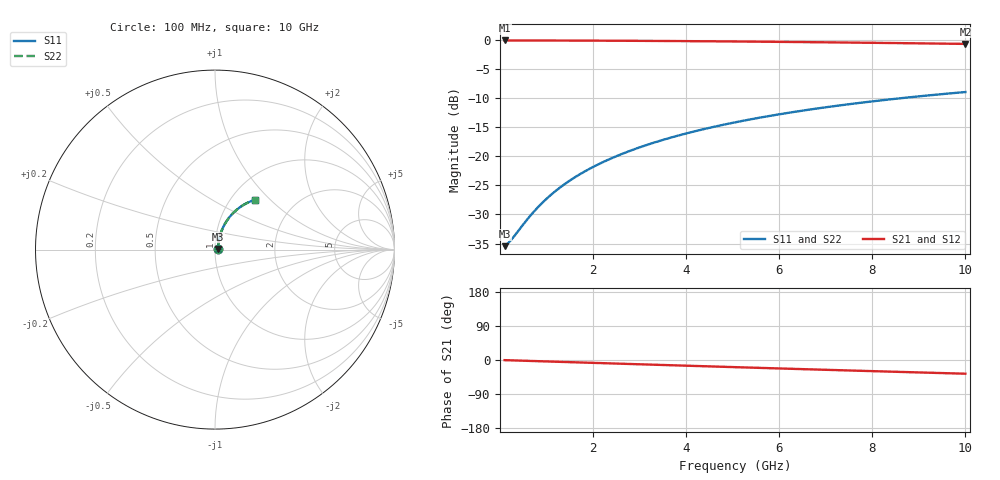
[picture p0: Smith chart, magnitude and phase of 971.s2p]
# Hz S RI R 50.00
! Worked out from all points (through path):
!   100 points, 100 MHz to 10 GHz, reference 50 ohm
!   highest |S21| = -0.14 dB at 100 MHz (marker M1); lowest = -0.7 dB at 10 GHz (marker M2)
!   group delay of S21, straight-line fit = 10.1 ps
!   lowest |S11| = -35.4 dB at 100 MHz (marker M3), VSWR 1.03, Z = 51.7 + j0.399 ohm
!   |S11| at or under -10 dB: start of sweep to 8.676 GHz
!   |S22| runs from -35.4 to -9.0 dB; largest |S21 - S12| = 0
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1e8  0.0165 0.00386  0.9835 -0.00649  0.9835 -0.00649  0.0165 0.00386
2e8  0.0166 0.00772  0.9833 -0.013  0.9833 -0.013  0.0166 0.00772
3e8  0.0169 0.0116  0.9831 -0.0195  0.9831 -0.0195  0.0169 0.0116
5e8  0.0174 0.0193  0.9825 -0.0324  0.9825 -0.0324  0.0174 0.0193
7e8  0.0181 0.027  0.9817 -0.0454  0.9817 -0.0454  0.0181 0.027
8e8  0.0185 0.0308  0.9813 -0.0518  0.9813 -0.0518  0.0185 0.0308
1e9  0.0195 0.0384  0.9801 -0.0647  0.9801 -0.0647  0.0195 0.0384
1.2e9  0.0207 0.0461  0.9788 -0.0776  0.9788 -0.0776  0.0207 0.0461
1.4e9  0.022 0.0536  0.9772 -0.0904  0.9772 -0.0904  0.022 0.0536
1.6e9  0.0236 0.0612  0.9755 -0.1032  0.9755 -0.1032  0.0236 0.0612
1.8e9  0.0254 0.0686  0.9735 -0.116  0.9735 -0.116  0.0254 0.0686
2.1e9  0.0283 0.0797  0.9701 -0.135  0.9701 -0.135  0.0283 0.0797
2.5e9  0.033 0.0943  0.9648 -0.1601  0.9648 -0.1601  0.033 0.0943
2.9e9  0.0384 0.1086  0.9586 -0.1849  0.9586 -0.1849  0.0384 0.1086
3.4e9  0.0461 0.1259  0.9498 -0.2155  0.9498 -0.2155  0.0461 0.1259
4.2e9  0.0607 0.1524  0.933 -0.263  0.933 -0.263  0.0607 0.1524
5.1e9  0.08 0.1799  0.9107 -0.3143  0.9107 -0.3143  0.08 0.1799
5.9e9  0.0995 0.202  0.888 -0.3577  0.888 -0.3577  0.0995 0.202
6.7e9  0.1209 0.2219  0.863 -0.3988  0.863 -0.3988  0.1209 0.2219
7.5e9  0.1438 0.2393  0.836 -0.4376  0.836 -0.4376  0.1438 0.2393
8.4e9  0.1711 0.2558  0.8035 -0.4781  0.8035 -0.4781  0.1711 0.2558
1e10  0.2221 0.277  0.7415 -0.5424  0.7415 -0.5424  0.2221 0.277
